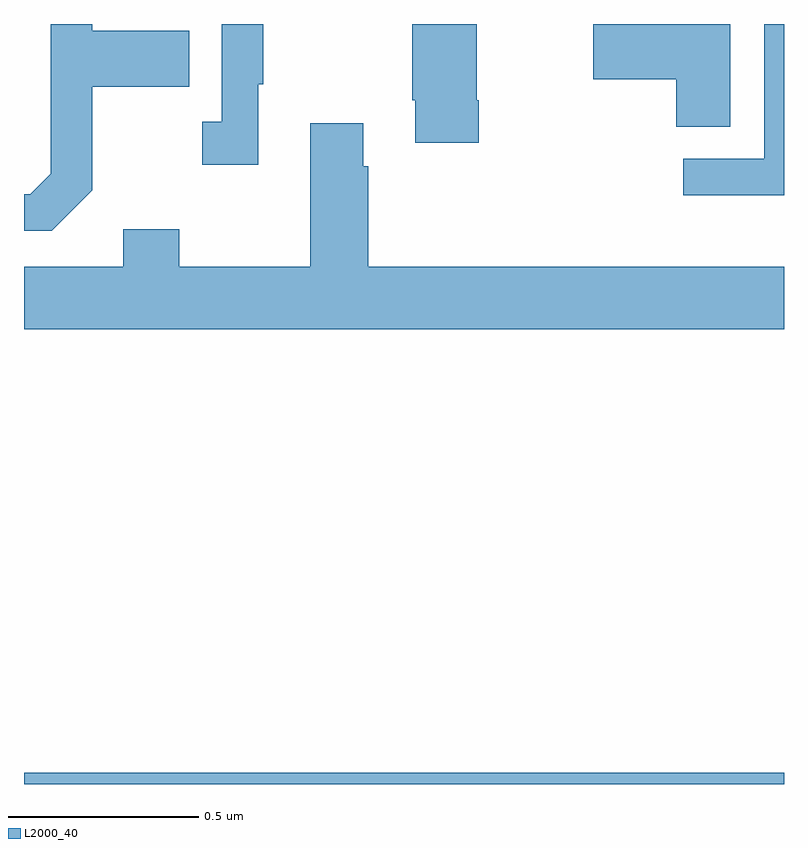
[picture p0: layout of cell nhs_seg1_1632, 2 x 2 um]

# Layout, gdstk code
import gdstk
lib = gdstk.Library(unit=1e-6, precision=1e-09)
def R(c, l, rs):  # rectangles x0, y0, x1, y1
    for r in rs: c.add(gdstk.rectangle(r[:2], r[2:], *l))
def P(c, l, *ps):  # polygons
    for p in ps: c.add(gdstk.Polygon(p, *l))
L2000_40 = (2000, 40)

nhs_seg1_1632 = lib.new_cell('nhs_seg1_1632')
R(nhs_seg1_1632, L2000_40, [(131,553.199,133,553.228)])
P(nhs_seg1_1632, L2000_40, [(131.617,555.041),(131.629,555.041),(131.629,555.199),(131.52,555.199),(131.52,554.942),(131.469,554.942),(131.469,554.829),(131.617,554.829)],
  [(132.859,555.199),(132.498,555.199),(132.498,555.053),(132.716,555.053),(132.716,554.929),(132.859,554.929)],
  [(131.179,554.761),(131.179,555.034),(131.435,555.034),(131.435,555.181),(131.179,555.181),(131.179,555.199),(131.07,555.199),(131.07,554.805),(131.016,554.751),(131,554.751),(131,554.655),(131.073,554.655)],
  [(132.197,554.998),(132.192,554.998),(132.192,555.199),(132.022,555.199),(132.022,554.998),(132.029,554.998),(132.029,554.886),(132.197,554.886)],
  [(133,555.199),(132.948,555.199),(132.948,554.844),(132.735,554.844),(132.735,554.748),(133,554.748)],
  [(133,554.56),(131.906,554.56),(131.906,554.825),(131.893,554.825),(131.893,554.938),(131.753,554.938),(131.753,554.56),(131.409,554.56),(131.409,554.659),(131.261,554.659),(131.261,554.56),(131,554.56),(131,554.396),(133,554.396)])

lib.write_gds('nhs_seg1_1632.gds')
